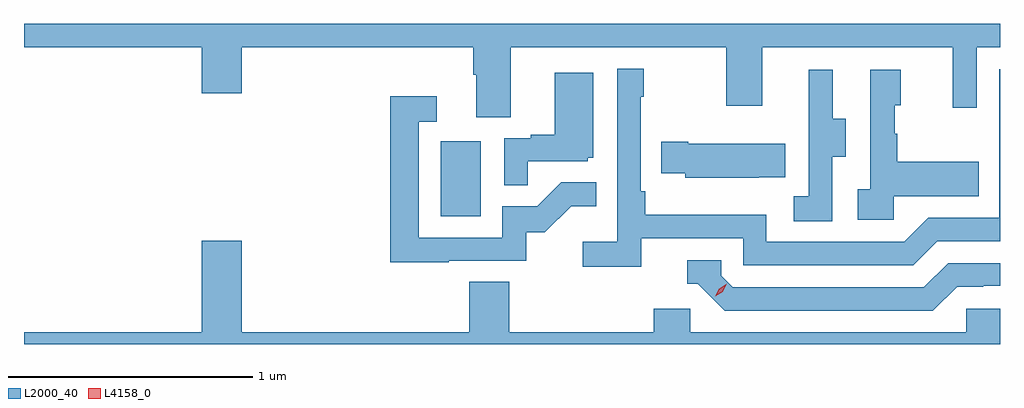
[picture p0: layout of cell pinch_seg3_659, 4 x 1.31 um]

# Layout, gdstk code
import gdstk
lib = gdstk.Library(unit=1e-6, precision=1e-09)
def R(c, l, rs):  # rectangles x0, y0, x1, y1
    for r in rs: c.add(gdstk.rectangle(r[:2], r[2:], *l))
def P(c, l, *ps):  # polygons
    for p in ps: c.add(gdstk.Polygon(p, *l))
L2000_40 = (2000, 40)
L4158_0 = (4158, 0)

pinch_seg3_659 = lib.new_cell('pinch_seg3_659')
R(pinch_seg3_659, L2000_40, [(1077.074,666.924,1077.238,667.231)])
P(pinch_seg3_659, L2000_40, [(1077.361,667.616),(1078.246,667.616),(1078.246,667.377),(1078.393,667.377),(1078.393,667.616),(1079.174,667.616),(1079.174,667.368),(1079.271,667.368),(1079.271,667.616),(1079.367,667.616),(1079.367,667.713),(1075.367,667.713),(1075.367,667.616),(1076.096,667.616),(1076.096,667.428),(1076.26,667.428),(1076.26,667.616),(1077.209,667.616),(1077.209,667.504),(1077.221,667.504),(1077.221,667.33),(1077.361,667.33)],
  [(1077.896,666.834),(1078.314,666.834),(1078.314,666.723),(1079.011,666.723),(1079.11,666.822),(1079.367,666.822),(1079.367,667.527),(1079.364,667.527),(1079.364,666.918),(1079.073,666.918),(1078.974,666.819),(1078.41,666.819),(1078.41,666.931),(1077.914,666.931),(1077.914,667.027),(1077.894,667.027),(1077.894,667.415),(1077.907,667.415),(1077.907,667.528),(1077.798,667.528),(1077.798,666.82),(1077.657,666.82),(1077.657,666.718),(1077.896,666.718)],
  [(1078.932,667.007),(1079.279,667.007),(1079.279,667.147),(1078.945,667.147),(1078.945,667.262),(1078.935,667.262),(1078.935,667.38),(1078.96,667.38),(1078.96,667.525),(1078.836,667.525),(1078.836,667.034),(1078.785,667.034),(1078.785,666.909),(1078.932,666.909)],
  [(1078.68,667.168),(1078.735,667.168),(1078.735,667.323),(1078.681,667.323),(1078.681,667.525),(1078.583,667.525),(1078.583,667.311),(1078.584,667.311),(1078.584,667.007),(1078.521,667.007),(1078.521,666.904),(1078.68,666.904)],
  [(1077.431,667.149),(1077.678,667.149),(1077.678,667.164),(1077.7,667.164),(1077.7,667.513),(1077.542,667.513),(1077.542,667.258),(1077.443,667.258),(1077.443,667.245),(1077.336,667.245),(1077.336,667.051),(1077.431,667.051)],
  [(1077.107,666.741),(1077.426,666.741),(1077.426,666.858),(1077.502,666.858),(1077.609,666.965),(1077.713,666.965),(1077.713,667.064),(1077.569,667.064),(1077.471,666.966),(1077.327,666.966),(1077.327,666.837),(1076.985,666.837),(1076.985,667.311),(1077.058,667.311),(1077.058,667.417),(1076.869,667.417),(1076.869,666.736),(1077.107,666.736)],
  [(1078.379,667.085),(1078.487,667.085),(1078.487,667.222),(1078.09,667.222),(1078.09,667.23),(1077.979,667.23),(1077.979,667.1),(1078.077,667.1),(1078.077,667.082),(1078.379,667.082)],
  [(1079.367,666.546),(1079.229,666.546),(1079.229,666.448),(1078.098,666.448),(1078.098,666.546),(1077.947,666.546),(1077.947,666.448),(1077.356,666.448),(1077.356,666.656),(1077.191,666.656),(1077.191,666.448),(1076.26,666.448),(1076.26,666.823),(1076.096,666.823),(1076.096,666.448),(1075.367,666.448),(1075.367,666.4),(1079.367,666.4)],
  [(1079.191,666.636),(1079.298,666.636),(1079.298,666.639),(1079.367,666.639),(1079.367,666.732),(1079.154,666.732),(1079.055,666.633),(1078.272,666.633),(1078.224,666.681),(1078.224,666.744),(1078.085,666.744),(1078.085,666.648),(1078.128,666.648),(1078.239,666.537),(1079.092,666.537)])
P(pinch_seg3_659, L4158_0, [(1078.2,666.596),(1078.2,666.596),(1078.216,666.628),(1078.247,666.647),(1078.248,666.647),(1078.248,666.647),(1078.231,666.615),(1078.2,666.596)])

lib.write_gds('pinch_seg3_659.gds')
